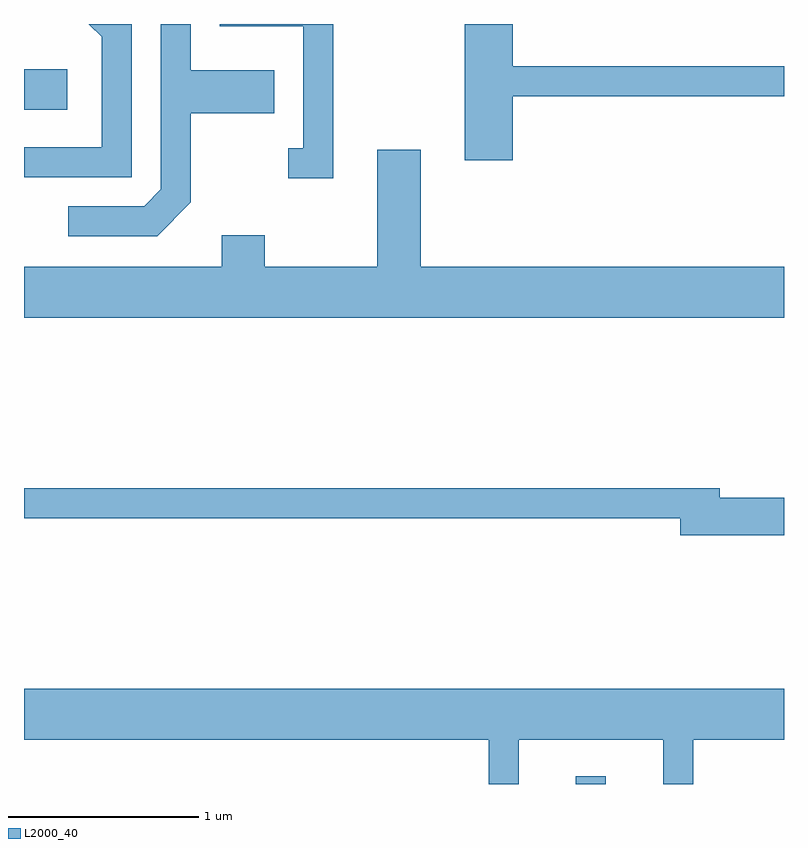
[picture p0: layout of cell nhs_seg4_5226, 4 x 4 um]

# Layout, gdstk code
import gdstk
lib = gdstk.Library(unit=1e-6, precision=1e-09)
def R(c, l, rs):  # rectangles x0, y0, x1, y1
    for r in rs: c.add(gdstk.rectangle(r[:2], r[2:], *l))
def P(c, l, *ps):  # polygons
    for p in ps: c.add(gdstk.Polygon(p, *l))
L2000_40 = (2000, 40)

nhs_seg4_5226 = lib.new_cell('nhs_seg4_5226')
R(nhs_seg4_5226, L2000_40, [(340.516,1369.982,340.674,1370.023), (337.611,1373.531,337.839,1373.744)])
P(nhs_seg4_5226, L2000_40, [(338.489,1373.044),(338.489,1373.511),(338.929,1373.511),(338.929,1373.739),(338.489,1373.739),(338.489,1373.982),(338.331,1373.982),(338.331,1373.112),(338.244,1373.024),(337.843,1373.024),(337.843,1372.866),(338.312,1372.866)],
  [(339.239,1373.982),(338.641,1373.982),(338.641,1373.971),(339.081,1373.971),(339.081,1373.329),(339.003,1373.329),(339.003,1373.171),(339.239,1373.171)],
  [(338.179,1373.982),(337.953,1373.982),(338.021,1373.914),(338.021,1373.334),(337.611,1373.334),(337.611,1373.176),(338.179,1373.176)],
  [(340.184,1373.601),(341.611,1373.601),(341.611,1373.759),(340.184,1373.759),(340.184,1373.982),(339.931,1373.982),(339.931,1373.266),(340.184,1373.266)],
  [(341.611,1372.704),(339.699,1372.704),(339.699,1373.319),(339.471,1373.319),(339.471,1372.704),(338.879,1372.704),(338.879,1372.869),(338.651,1372.869),(338.651,1372.704),(337.611,1372.704),(337.611,1372.436),(341.611,1372.436)],
  [(341.611,1371.489),(341.274,1371.489),(341.274,1371.539),(337.611,1371.539),(337.611,1371.381),(341.066,1371.381),(341.066,1371.291),(341.611,1371.291)],
  [(340.214,1370.216),(340.976,1370.216),(340.976,1369.982),(341.134,1369.982),(341.134,1370.216),(341.611,1370.216),(341.611,1370.484),(337.611,1370.484),(337.611,1370.216),(340.056,1370.216),(340.056,1369.982),(340.214,1369.982)])

lib.write_gds('nhs_seg4_5226.gds')
